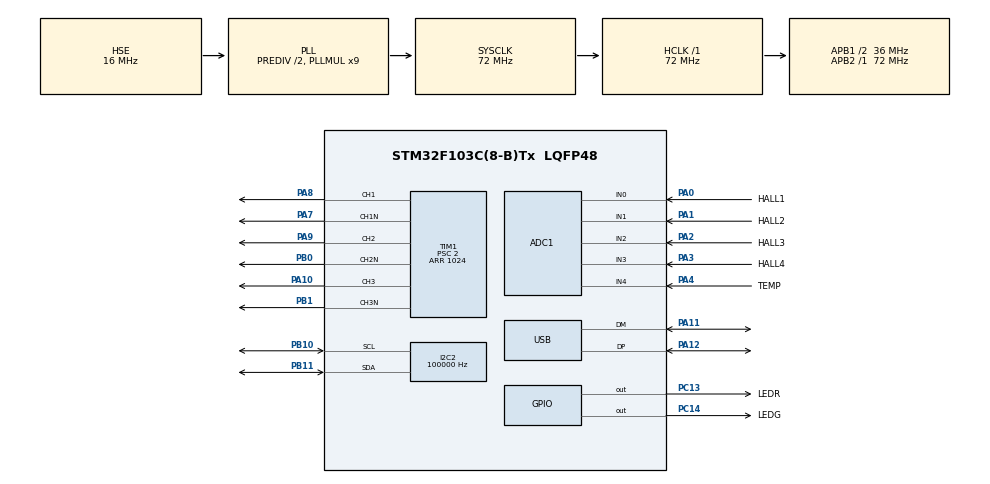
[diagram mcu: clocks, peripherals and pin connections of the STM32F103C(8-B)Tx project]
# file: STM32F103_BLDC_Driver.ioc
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ADC1.Channel-0\#ChannelRegularConversion=ADC_CHANNEL_0
ADC1.Channel-1\#ChannelRegularConversion=ADC_CHANNEL_1
ADC1.Channel-2\#ChannelRegularConversion=ADC_CHANNEL_2
ADC1.Channel-3\#ChannelRegularConversion=ADC_CHANNEL_3
ADC1.Channel-4\#ChannelRegularConversion=ADC_CHANNEL_4
ADC1.ContinuousConvMode=ENABLE
ADC1.NbrOfConversion=5
ADC1.NbrOfConversionFlag=1
ADC1.Rank-0\#ChannelRegularConversion=1
ADC1.Rank-1\#ChannelRegularConversion=2
ADC1.Rank-2\#ChannelRegularConversion=3
ADC1.Rank-3\#ChannelRegularConversion=4
ADC1.Rank-4\#ChannelRegularConversion=5
ADC1.SamplingTime-0\#ChannelRegularConversion=ADC_SAMPLETIME_41CYCLES_5
ADC1.SamplingTime-1\#ChannelRegularConversion=ADC_SAMPLETIME_41CYCLES_5
ADC1.SamplingTime-2\#ChannelRegularConversion=ADC_SAMPLETIME_41CYCLES_5
ADC1.SamplingTime-3\#ChannelRegularConversion=ADC_SAMPLETIME_41CYCLES_5
ADC1.SamplingTime-4\#ChannelRegularConversion=ADC_SAMPLETIME_41CYCLES_5
ADC1.master=1
Dma.ADC1.3.Direction=DMA_PERIPH_TO_MEMORY
Dma.ADC1.3.Instance=DMA1_Channel1
Dma.ADC1.3.MemDataAlignment=DMA_MDATAALIGN_WORD
Dma.ADC1.3.MemInc=DMA_MINC_ENABLE
Dma.ADC1.3.Mode=DMA_CIRCULAR
Dma.ADC1.3.PeriphDataAlignment=DMA_PDATAALIGN_WORD
Dma.ADC1.3.PeriphInc=DMA_PINC_DISABLE
Dma.ADC1.3.Priority=DMA_PRIORITY_LOW
Dma.Request0=TIM1_CH1
Dma.Request1=TIM1_CH2
Dma.Request2=TIM1_CH3
Dma.Request3=ADC1
Dma.TIM1_CH1.0.Direction=DMA_MEMORY_TO_PERIPH
Dma.TIM1_CH1.0.Instance=DMA1_Channel2
Dma.TIM1_CH1.0.MemDataAlignment=DMA_MDATAALIGN_HALFWORD
Dma.TIM1_CH1.0.MemInc=DMA_MINC_DISABLE
Dma.TIM1_CH1.0.Mode=DMA_CIRCULAR
Dma.TIM1_CH1.0.PeriphDataAlignment=DMA_PDATAALIGN_HALFWORD
Dma.TIM1_CH1.0.PeriphInc=DMA_PINC_DISABLE
Dma.TIM1_CH1.0.Priority=DMA_PRIORITY_LOW
Dma.TIM1_CH2.1.Direction=DMA_MEMORY_TO_PERIPH
Dma.TIM1_CH2.1.Instance=DMA1_Channel3
Dma.TIM1_CH2.1.MemDataAlignment=DMA_MDATAALIGN_HALFWORD
Dma.TIM1_CH2.1.MemInc=DMA_MINC_DISABLE
Dma.TIM1_CH2.1.Mode=DMA_CIRCULAR
Dma.TIM1_CH2.1.PeriphDataAlignment=DMA_PDATAALIGN_HALFWORD
Dma.TIM1_CH2.1.PeriphInc=DMA_PINC_DISABLE
Dma.TIM1_CH2.1.Priority=DMA_PRIORITY_LOW
Dma.TIM1_CH3.2.Direction=DMA_MEMORY_TO_PERIPH
Dma.TIM1_CH3.2.Instance=DMA1_Channel6
Dma.TIM1_CH3.2.MemDataAlignment=DMA_MDATAALIGN_HALFWORD
Dma.TIM1_CH3.2.MemInc=DMA_MINC_DISABLE
Dma.TIM1_CH3.2.Mode=DMA_CIRCULAR
Dma.TIM1_CH3.2.PeriphDataAlignment=DMA_PDATAALIGN_HALFWORD
Dma.TIM1_CH3.2.PeriphInc=DMA_PINC_DISABLE
Dma.TIM1_CH3.2.Priority=DMA_PRIORITY_LOW
I2C2.ClockSpeed=100000
I2C2.I2C_Mode=I2C_Fast
Mcu.Family=STM32F1
Mcu.Name=STM32F103C(8-B)Tx
Mcu.Package=LQFP48
NVIC.DMA1_Channel1_IRQn=true\:0\:0\:false\:false\:true\:false\:true\:true
NVIC.DMA1_Channel2_IRQn=true\:1\:0\:true\:false\:true\:false\:true\:true
NVIC.DMA1_Channel3_IRQn=true\:2\:0\:true\:false\:true\:false\:true\:true
NVIC.DMA1_Channel6_IRQn=true\:3\:0\:true\:false\:true\:false\:true\:true
NVIC.FLASH_IRQn=true\:5\:0\:true\:false\:true\:true\:true\:true
NVIC.I2C2_EV_IRQn=true\:8\:0\:true\:false\:true\:true\:true\:true
NVIC.PVD_IRQn=true\:14\:0\:true\:false\:true\:true\:true\:true
NVIC.PriorityGroup=NVIC_PRIORITYGROUP_4
NVIC.RCC_IRQn=true\:4\:0\:true\:false\:true\:true\:false\:true
NVIC.TIM2_IRQn=true\:7\:0\:true\:false\:true\:true\:true\:true
NVIC.TIM3_IRQn=true\:6\:0\:true\:false\:true\:true\:true\:true
NVIC.TIM4_IRQn=true\:0\:0\:false\:false\:true\:true\:true\:true
NVIC.USB_HP_CAN1_TX_IRQn=true\:15\:0\:true\:false\:true\:true\:true\:true
NVIC.USB_LP_CAN1_RX0_IRQn=true\:7\:0\:true\:false\:true\:false\:true\:true
PA0-WKUP.GPIO_Label=HALL1
PA0-WKUP.Signal=ADCx_IN0
PA1.GPIO_Label=HALL2
PA1.Signal=ADCx_IN1
PA10.Signal=S_TIM1_CH3
PA11.Mode=Device
PA11.Signal=USB_DM
PA12.Mode=Device
PA12.Signal=USB_DP
PA13.Mode=Serial_Wire
PA13.Signal=SYS_JTMS-SWDIO
PA14.Mode=Serial_Wire
PA14.Signal=SYS_JTCK-SWCLK
PA2.GPIO_Label=HALL3
PA2.Signal=ADCx_IN2
PA3.GPIO_Label=HALL4
PA3.Signal=ADCx_IN3
PA4.GPIO_Label=TEMP
PA4.Signal=ADCx_IN4
PA7.Mode=PWM Generation1 CH1 CH1N
PA7.Signal=TIM1_CH1N
PA8.Signal=S_TIM1_CH1
PA9.Signal=S_TIM1_CH2
PB0.Mode=PWM Generation2 CH2 CH2N
PB0.Signal=TIM1_CH2N
PB1.Mode=PWM Generation3 CH3 CH3N
PB1.Signal=TIM1_CH3N
PB10.Mode=I2C
PB10.Signal=I2C2_SCL
PB11.Mode=I2C
PB11.Signal=I2C2_SDA
PC13-TAMPER-RTC.GPIO_Label=LEDR
PC13-TAMPER-RTC.Signal=GPIO_Output
PC14-OSC32_IN.GPIO_Label=LEDG
PC14-OSC32_IN.Signal=GPIO_Output
PD0-OSC_IN.Mode=HSE-External-Oscillator
PD0-OSC_IN.Signal=RCC_OSC_IN
PD1-OSC_OUT.Mode=HSE-External-Oscillator
PD1-OSC_OUT.Signal=RCC_OSC_OUT
ProjectManager.HeapSize=0x200
ProjectManager.StackSize=0x400
ProjectManager.TargetToolchain=STM32CubeIDE
RCC.ADCPresc=RCC_ADCPCLK2_DIV6
RCC.AHBFreq_Value=72000000
RCC.APB1CLKDivider=RCC_HCLK_DIV2
RCC.APB1Freq_Value=36000000
RCC.APB1TimFreq_Value=72000000
RCC.APB2Freq_Value=72000000
RCC.APB2TimFreq_Value=72000000
RCC.HCLKFreq_Value=72000000
RCC.HSEDivPLL=RCC_HSE_PREDIV_DIV2
RCC.HSE_VALUE=16000000
RCC.PLLMUL=RCC_PLL_MUL9
RCC.SYSCLKFreq_VALUE=72000000
RCC.SYSCLKSource=RCC_SYSCLKSOURCE_PLLCLK
RCC.USBFreq_Value=48000000
RCC.USBPrescaler=RCC_USBCLKSOURCE_PLL_DIV1_5
SH.ADCx_IN0.0=ADC1_IN0,IN0
SH.ADCx_IN1.0=ADC1_IN1,IN1
SH.ADCx_IN2.0=ADC1_IN2,IN2
SH.ADCx_IN3.0=ADC1_IN3,IN3
SH.ADCx_IN4.0=ADC1_IN4,IN4
SH.S_TIM1_CH1.0=TIM1_CH1,PWM Generation1 CH1 CH1N
SH.S_TIM1_CH2.0=TIM1_CH2,PWM Generation2 CH2 CH2N
SH.S_TIM1_CH3.0=TIM1_CH3,PWM Generation3 CH3 CH3N
TIM1.AutoReloadPreload=TIM_AUTORELOAD_PRELOAD_DISABLE
TIM1.AutomaticOutput=TIM_AUTOMATICOUTPUT_ENABLE
TIM1.Channel-PWM\ Generation1\ CH1\ CH1N=TIM_CHANNEL_1
TIM1.Channel-PWM\ Generation2\ CH2\ CH2N=TIM_CHANNEL_2
TIM1.Channel-PWM\ Generation3\ CH3\ CH3N=TIM_CHANNEL_3
TIM1.DeadTime=100
TIM1.Period=1024
TIM1.Prescaler=2
TIM2.AutoReloadPreload=TIM_AUTORELOAD_PRELOAD_ENABLE
TIM2.ClockDivision=TIM_CLOCKDIVISION_DIV1
TIM2.CounterMode=TIM_COUNTERMODE_UP
TIM2.Period=70 - 1
TIM2.Prescaler=72 - 1
TIM3.Period=1000 - 1
TIM3.Prescaler=72 - 1
TIM4.Period=33333 - 1
TIM4.Prescaler=180-1
USB_DEVICE.CLASS_NAME_FS=CDC
USB_DEVICE.PRODUCT_STRING_CDC_FS=STM32 ble ComPort
USB_DEVICE.VirtualMode=Cdc
USB_DEVICE.VirtualModeFS=Cdc_FS
VP_TIM1_VS_ClockSourceINT.Mode=Internal
VP_TIM2_VS_ClockSourceINT.Mode=Internal
VP_TIM3_VS_ClockSourceINT.Mode=Internal
VP_TIM4_VS_ClockSourceINT.Mode=Internal
VP_USB_DEVICE_VS_USB_DEVICE_CDC_FS.Mode=CDC_FS
board=custom

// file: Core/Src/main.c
/* USER CODE BEGIN Header */
/**
 ******************************************************************************
 * @file           : main.c
 * @brief          : Main program body
 ******************************************************************************
 * @attention
 *
 * Copyright (c) 2022 STMicroelectronics.
 * All rights reserved.
 *
 * This software is licensed under terms that can be found in the LICENSE file
 * in the root directory of this software component.
 * If no LICENSE file comes with this software, it is provided AS-IS.
 *
 ******************************************************************************
 */
/* USER CODE END Header */
#include "main.h"
#include "usb_device.h"

/* USER CODE BEGIN Includes */
#include <math.h>
#include <stdint.h>
#include "usbd_cdc_if.h"
#include "as5600.h"
#include "bldc.h"
#include "pid.h"
#include "usb_comm.h"
/* USER CODE END Includes */

ADC_HandleTypeDef hadc1;
DMA_HandleTypeDef hdma_adc1;

I2C_HandleTypeDef hi2c2;

TIM_HandleTypeDef htim1;
TIM_HandleTypeDef htim2;
TIM_HandleTypeDef htim3;
TIM_HandleTypeDef htim4;
DMA_HandleTypeDef hdma_tim1_ch1;
DMA_HandleTypeDef hdma_tim1_ch2;
DMA_HandleTypeDef hdma_tim1_ch3;

/* USER CODE BEGIN PV */
extern uint16_t focArray[(int) MOTOR_RESOLUTION];
extern struct BLDCMotorSt bldcMotor;
extern struct BLDCencoderSt bldcEncoder;
//ADC
uint32_t adc_raw_table[5];
// USB
uint8_t DataToSend[40];
uint8_t ReceivedData[40];
uint8_t ReceivedDataFlag = 0;
uint8_t MessageLength = 0;
uint8_t TXFlag = 0;
// PID
PID_TypeDef PowerPID;
double PowerPIDSetpoint = 0.0;
//PID_TypeDef AccelerationPID;

//OTHERS
extern uint8_t initPhase;
uint16_t test_array[4095];

extern uint16_t expectedPosition;
extern uint16_t expectedDegree;
extern uint16_t expectedPower;

extern uint8_t mode; //driver program 0-1pos / 1-switch

uint16_t temperature = 0;
/* USER CODE END PV */

void SystemClock_Config(void);
static void MX_GPIO_Init(void);
static void MX_TIM1_Init(void);
static void MX_TIM2_Init(void);
static void MX_I2C2_Init(void);
static void MX_DMA_Init(void);
static void MX_ADC1_Init(void);
static void MX_TIM3_Init(void);
static void MX_TIM4_Init(void);

/* USER CODE BEGIN 0 */
void HAL_TIM_PeriodElapsedCallback(TIM_HandleTypeDef *htim) {
	if (htim->Instance == TIM2) {
		if (initPhase == 0) {
			bldc_Set_NewPosition(15, (uint16_t) bldcMotor.actualAcceleration);
		}
	}

	if (htim->Instance == TIM3) {
		bldcEncoder.status = as5600_ReadPosition(&hi2c2, &bldcEncoder.angle);
		if (initPhase == 0) {
			PID_Compute(&PowerPID);
			bldc_SyncWithEncoder(2);
			bldc_Calculate(&htim2);
		}
	}

	if (htim->Instance == TIM4) {

		HAL_GPIO_TogglePin(LEDG_GPIO_Port, LEDG_Pin);
	}
}

void encoder_Test(uint8_t power) {
	int diff;
	int maxDiff = 0;

	for (bldcMotor.fieldPosition = 0; bldcMotor.fieldPosition < 4095;
			bldcMotor.fieldPosition++) {
		bldc_Set_MotorPosition(bldcMotor.fieldPosition, power);
		HAL_Delay(10);
		diff = bldcMotor.fieldPosition - bldcEncoder.calculatedAngle;

		if (abs(diff) > 2000) {
			diff = 4095
					+ (bldcMotor.fieldPosition - bldcEncoder.calculatedAngle);
		}
		if (diff > 255) {
			diff = 255;
		}
		if (diff < -255) {
			diff = 255;
		}

		test_array[bldcEncoder.calculatedAngle] = bldcMotor.fieldPosition;

		if (abs(diff) > maxDiff && abs(diff) < 2000) {
			maxDiff = abs(diff);
		}
		//encoder_array[bldcMotor.fieldPosition] = diff;
	}
	for (uint16_t i = 0; i < 4095; i++) {
		if (i < 4090) {
			if (test_array[i] == 0 && test_array[i + 1] == 0
					&& test_array[i + 2] == 0) {
				test_array[i + 1] =
						((test_array[i + 3] - test_array[i - 1]) / 2)
								+ test_array[i - 1];
				test_array[i] = ((test_array[i + 1] - test_array[i - 1]) / 2)
						+ test_array[i - 1];
				test_array[i + 2] =
						((test_array[i + 3] - test_array[i + 1]) / 2)
								+ test_array[i + 1];
			} else if (test_array[i] == 0 && test_array[i + 1] == 0) {
				test_array[i] = ((test_array[i + 2] - test_array[i - 1]) / 3)
						+ test_array[i - 1];
				test_array[i + 1] = (((test_array[i + 2] - test_array[i - 1])
						/ 3) * 2) + test_array[i - 1];
			} else if (test_array[i] == 0) {
				test_array[i] = ((test_array[i + 1] - test_array[i - 1]) / 2)
						+ test_array[i - 1];
			}
		}
		MessageLength = sprintf((char*) DataToSend, "%i, ", test_array[i]);
		CDC_Transmit_FS(DataToSend, MessageLength);
	}
	MessageLength = sprintf((char*) DataToSend, "\n\r->  Maximum diff: %i \n\r",
			maxDiff);
	CDC_Transmit_FS(DataToSend, MessageLength);
	HAL_Delay(100);
}
/* USER CODE END 0 */

int main(void)
{

  /* MCU Configuration--------------------------------------------------------*/

  /* Reset of all peripherals, Initializes the Flash interface and the Systick. */
  HAL_Init();

  /* Configure the system clock */
  SystemClock_Config();

  /* Initialize all configured peripherals */
  MX_GPIO_Init();
  MX_DMA_Init();
  MX_TIM1_Init();
  MX_TIM2_Init();
  MX_USB_DEVICE_Init();
  MX_I2C2_Init();
  MX_ADC1_Init();
  MX_TIM3_Init();
  MX_TIM4_Init();
  /* USER CODE BEGIN 2 */

	bldcMotor.pwmU = 0;
	bldcMotor.pwmV = 0;
	bldcMotor.pwmW = 0;
	bldcMotor.expectedPosition = 0;
	bldcMotor.fieldPosition = 0;
	bldcMotor.fieldLastPosition = 0;
	bldcMotor.direction = 0;
	bldcMotor.distance = 0;
	bldcMotor.expectedPower = 30.0;
	//bldcMotor.expectedAcceleration = 900.0;
	bldcMotor.actualAcceleration = 5.0;
	bldcMotor.actualSpeedARRReg = 1000;
	bldcMotor.expectedSpeed = 15.0;
	bldcMotor.actualSpeed = 0.0;

	__HAL_TIM_SET_AUTORELOAD(&htim2, bldcMotor.actualSpeedARRReg);

	HAL_GPIO_WritePin(LEDG_GPIO_Port, LEDG_Pin, 1);
	HAL_GPIO_WritePin(LEDR_GPIO_Port, LEDR_Pin, 0);

	bldc_Create_FocArray(&focArray[0]);

	if (as5600_Init(&hi2c2)) {
		HAL_GPIO_WritePin(LEDR_GPIO_Port, LEDR_Pin, 1);
		//error
	}
	HAL_Delay(500);

	HAL_TIM_Base_Start_IT(&htim2);
	HAL_TIM_Base_Start_IT(&htim3);

	if (bldc_Init(&htim1, TIM_CHANNEL_1, TIM_CHANNEL_2, TIM_CHANNEL_3)) {
		HAL_GPIO_WritePin(LEDR_GPIO_Port, LEDR_Pin, 1);
		//error
	}
	HAL_ADC_Start_DMA(&hadc1, adc_raw_table, 5);
	HAL_TIM_Base_Start_IT(&htim4);

	//  PID for power
	PowerPIDSetpoint = 0.0;
	PID(&PowerPID, &bldcMotor.distance, &bldcMotor.actualPower,
			&PowerPIDSetpoint, 0.8, 0.01, 0.01, _PID_P_ON_E, _PID_CD_REVERSE);
	PID_SetMode(&PowerPID, _PID_MODE_AUTOMATIC);
	PID_SetSampleTime(&PowerPID, 1); //1ms refresh time
	PID_SetOutputLimits(&PowerPID, 11, bldcMotor.expectedPower);

	/*
	 *
	 *
	 *   !!!!!!!!!!!!!! INITIALISE DMA BEFORE TIMERS !!!!!!!!!!!!!!!!!!!!!!
	 *
	 *
	 * */
  /* USER CODE END 2 */

  /* Infinite loop */
  /* USER CODE BEGIN WHILE */
	while (1) {
		MessageLength = sprintf((char*) DataToSend,
						"#%i,%i,%lu,%lu,%lu,%i,%.0f,%.0f,%i/\n\r", mode, bldcEncoder.calculatedAngle,
						bldcMotor.pwmU, bldcMotor.pwmV, bldcMotor.pwmW,
						bldcMotor.expectedPosition, bldcMotor.expectedPower, bldcMotor.actualPower,
						temperature);
		CDC_Transmit_FS(DataToSend, MessageLength);

		if(bldcMotor.expectedPower != (float)expectedPower){
			if((float)expectedPower > 12){
				bldcMotor.expectedPower = (float)expectedPower;
			} else {
				bldcMotor.expectedPower = 12;
			}
			PID_SetOutputLimits(&PowerPID, 12, bldcMotor.expectedPower);
		}

		if(mode == 0){
			float newPos = expectedDegree * 1.1406;
			bldcMotor.expectedPosition = (uint16_t)newPos;
		} else if (mode == 1){
			uint16_t switchPos = expectedDegree * 1.1406;
			bldcHapticSwitch(0, switchPos);
		}

		temperature = (0.04 * (uint16_t)adc_raw_table[4]) - 56;;

		HAL_Delay(50);
    /* USER CODE END WHILE */

	}
}

void SystemClock_Config(void)
{
  RCC_OscInitTypeDef RCC_OscInitStruct = {0};
  RCC_ClkInitTypeDef RCC_ClkInitStruct = {0};
  RCC_PeriphCLKInitTypeDef PeriphClkInit = {0};

  /** Initializes the RCC Oscillators according to the specified parameters
  * in the RCC_OscInitTypeDef structure.
  */
  RCC_OscInitStruct.OscillatorType = RCC_OSCILLATORTYPE_HSE;
  RCC_OscInitStruct.HSEState = RCC_HSE_ON;
  RCC_OscInitStruct.HSEPredivValue = RCC_HSE_PREDIV_DIV2;
  RCC_OscInitStruct.HSIState = RCC_HSI_ON;
  RCC_OscInitStruct.PLL.PLLState = RCC_PLL_ON;
  RCC_OscInitStruct.PLL.PLLSource = RCC_PLLSOURCE_HSE;
  RCC_OscInitStruct.PLL.PLLMUL = RCC_PLL_MUL9;
  if (HAL_RCC_OscConfig(&RCC_OscInitStruct) != HAL_OK)
  {
    Error_Handler();
  }

  /** Initializes the CPU, AHB and APB buses clocks
  */
  RCC_ClkInitStruct.ClockType = RCC_CLOCKTYPE_HCLK|RCC_CLOCKTYPE_SYSCLK
                              |RCC_CLOCKTYPE_PCLK1|RCC_CLOCKTYPE_PCLK2;
  RCC_ClkInitStruct.SYSCLKSource = RCC_SYSCLKSOURCE_PLLCLK;
  RCC_ClkInitStruct.AHBCLKDivider = RCC_SYSCLK_DIV1;
  RCC_ClkInitStruct.APB1CLKDivider = RCC_HCLK_DIV2;
  RCC_ClkInitStruct.APB2CLKDivider = RCC_HCLK_DIV1;

  if (HAL_RCC_ClockConfig(&RCC_ClkInitStruct, FLASH_LATENCY_2) != HAL_OK)
  {
    Error_Handler();
  }
  PeriphClkInit.PeriphClockSelection = RCC_PERIPHCLK_ADC|RCC_PERIPHCLK_USB;
  PeriphClkInit.AdcClockSelection = RCC_ADCPCLK2_DIV6;
  PeriphClkInit.UsbClockSelection = RCC_USBCLKSOURCE_PLL_DIV1_5;
  if (HAL_RCCEx_PeriphCLKConfig(&PeriphClkInit) != HAL_OK)
  {
    Error_Handler();
  }
}

static void MX_ADC1_Init(void)
{

  ADC_ChannelConfTypeDef sConfig = {0};

  /** Common config
  */
  hadc1.Instance = ADC1;
  hadc1.Init.ScanConvMode = ADC_SCAN_ENABLE;
  hadc1.Init.ContinuousConvMode = ENABLE;
  hadc1.Init.DiscontinuousConvMode = DISABLE;
  hadc1.Init.ExternalTrigConv = ADC_SOFTWARE_START;
  hadc1.Init.DataAlign = ADC_DATAALIGN_RIGHT;
  hadc1.Init.NbrOfConversion = 5;
  if (HAL_ADC_Init(&hadc1) != HAL_OK)
  {
    Error_Handler();
  }

  /** Configure Regular Channel
  */
  sConfig.Channel = ADC_CHANNEL_0;
  sConfig.Rank = ADC_REGULAR_RANK_1;
  sConfig.SamplingTime = ADC_SAMPLETIME_41CYCLES_5;
  if (HAL_ADC_ConfigChannel(&hadc1, &sConfig) != HAL_OK)
  {
    Error_Handler();
  }

  /** Configure Regular Channel
  */
  sConfig.Channel = ADC_CHANNEL_1;
  sConfig.Rank = ADC_REGULAR_RANK_2;
  if (HAL_ADC_ConfigChannel(&hadc1, &sConfig) != HAL_OK)
  {
    Error_Handler();
  }

  /** Configure Regular Channel
  */
  sConfig.Channel = ADC_CHANNEL_2;
  sConfig.Rank = ADC_REGULAR_RANK_3;
  if (HAL_ADC_ConfigChannel(&hadc1, &sConfig) != HAL_OK)
  {
    Error_Handler();
  }

  /** Configure Regular Channel
  */
  sConfig.Channel = ADC_CHANNEL_3;
  sConfig.Rank = ADC_REGULAR_RANK_4;
  if (HAL_ADC_ConfigChannel(&hadc1, &sConfig) != HAL_OK)
  {
    Error_Handler();
  }

  /** Configure Regular Channel
  */
  sConfig.Channel = ADC_CHANNEL_4;
  sConfig.Rank = ADC_REGULAR_RANK_5;
  if (HAL_ADC_ConfigChannel(&hadc1, &sConfig) != HAL_OK)
  {
    Error_Handler();
  }

}

static void MX_I2C2_Init(void)
{

  hi2c2.Instance = I2C2;
  hi2c2.Init.ClockSpeed = 100000;
  hi2c2.Init.DutyCycle = I2C_DUTYCYCLE_2;
  hi2c2.Init.OwnAddress1 = 0;
  hi2c2.Init.AddressingMode = I2C_ADDRESSINGMODE_7BIT;
  hi2c2.Init.DualAddressMode = I2C_DUALADDRESS_DISABLE;
  hi2c2.Init.OwnAddress2 = 0;
  hi2c2.Init.GeneralCallMode = I2C_GENERALCALL_DISABLE;
  hi2c2.Init.NoStretchMode = I2C_NOSTRETCH_DISABLE;
  if (HAL_I2C_Init(&hi2c2) != HAL_OK)
  {
    Error_Handler();
  }

}

static void MX_TIM1_Init(void)
{

  TIM_ClockConfigTypeDef sClockSourceConfig = {0};
  TIM_MasterConfigTypeDef sMasterConfig = {0};
  TIM_OC_InitTypeDef sConfigOC = {0};
  TIM_BreakDeadTimeConfigTypeDef sBreakDeadTimeConfig = {0};

  htim1.Instance = TIM1;
  htim1.Init.Prescaler = 2;
  htim1.Init.CounterMode = TIM_COUNTERMODE_UP;
  htim1.Init.Period = 1024;
  htim1.Init.ClockDivision = TIM_CLOCKDIVISION_DIV1;
  htim1.Init.RepetitionCounter = 0;
  htim1.Init.AutoReloadPreload = TIM_AUTORELOAD_PRELOAD_DISABLE;
  if (HAL_TIM_Base_Init(&htim1) != HAL_OK)
  {
    Error_Handler();
  }
  sClockSourceConfig.ClockSource = TIM_CLOCKSOURCE_INTERNAL;
  if (HAL_TIM_ConfigClockSource(&htim1, &sClockSourceConfig) != HAL_OK)
  {
    Error_Handler();
  }
  if (HAL_TIM_PWM_Init(&htim1) != HAL_OK)
  {
    Error_Handler();
  }
  sMasterConfig.MasterOutputTrigger = TIM_TRGO_RESET;
  sMasterConfig.MasterSlaveMode = TIM_MASTERSLAVEMODE_DISABLE;
  if (HAL_TIMEx_MasterConfigSynchronization(&htim1, &sMasterConfig) != HAL_OK)
  {
    Error_Handler();
  }
  sConfigOC.OCMode = TIM_OCMODE_PWM1;
  sConfigOC.Pulse = 0;
  sConfigOC.OCPolarity = TIM_OCPOLARITY_HIGH;
  sConfigOC.OCNPolarity = TIM_OCNPOLARITY_HIGH;
  sConfigOC.OCFastMode = TIM_OCFAST_DISABLE;
  sConfigOC.OCIdleState = TIM_OCIDLESTATE_RESET;
  sConfigOC.OCNIdleState = TIM_OCNIDLESTATE_RESET;
  if (HAL_TIM_PWM_ConfigChannel(&htim1, &sConfigOC, TIM_CHANNEL_1) != HAL_OK)
  {
    Error_Handler();
  }
  if (HAL_TIM_PWM_ConfigChannel(&htim1, &sConfigOC, TIM_CHANNEL_2) != HAL_OK)
  {
    Error_Handler();
  }
  if (HAL_TIM_PWM_ConfigChannel(&htim1, &sConfigOC, TIM_CHANNEL_3) != HAL_OK)
  {
    Error_Handler();
  }
  sBreakDeadTimeConfig.OffStateRunMode = TIM_OSSR_DISABLE;
  sBreakDeadTimeConfig.OffStateIDLEMode = TIM_OSSI_DISABLE;
  sBreakDeadTimeConfig.LockLevel = TIM_LOCKLEVEL_OFF;
  sBreakDeadTimeConfig.DeadTime = 100;
  sBreakDeadTimeConfig.BreakState = TIM_BREAK_DISABLE;
  sBreakDeadTimeConfig.BreakPolarity = TIM_BREAKPOLARITY_HIGH;
  sBreakDeadTimeConfig.AutomaticOutput = TIM_AUTOMATICOUTPUT_ENABLE;
  if (HAL_TIMEx_ConfigBreakDeadTime(&htim1, &sBreakDeadTimeConfig) != HAL_OK)
  {
    Error_Handler();
  }
  HAL_TIM_MspPostInit(&htim1);

}

static void MX_TIM2_Init(void)
{

  TIM_ClockConfigTypeDef sClockSourceConfig = {0};
  TIM_MasterConfigTypeDef sMasterConfig = {0};

  htim2.Instance = TIM2;
  htim2.Init.Prescaler = 72 - 1;
  htim2.Init.CounterMode = TIM_COUNTERMODE_UP;
  htim2.Init.Period = 70 - 1;
  htim2.Init.ClockDivision = TIM_CLOCKDIVISION_DIV1;
  htim2.Init.AutoReloadPreload = TIM_AUTORELOAD_PRELOAD_ENABLE;
  if (HAL_TIM_Base_Init(&htim2) != HAL_OK)
  {
    Error_Handler();
  }
  sClockSourceConfig.ClockSource = TIM_CLOCKSOURCE_INTERNAL;
  if (HAL_TIM_ConfigClockSource(&htim2, &sClockSourceConfig) != HAL_OK)
  {
    Error_Handler();
  }
  sMasterConfig.MasterOutputTrigger = TIM_TRGO_RESET;
  sMasterConfig.MasterSlaveMode = TIM_MASTERSLAVEMODE_DISABLE;
  if (HAL_TIMEx_MasterConfigSynchronization(&htim2, &sMasterConfig) != HAL_OK)
  {
    Error_Handler();
  }

}

static void MX_TIM3_Init(void)
{

  TIM_ClockConfigTypeDef sClockSourceConfig = {0};
  TIM_MasterConfigTypeDef sMasterConfig = {0};

  htim3.Instance = TIM3;
  htim3.Init.Prescaler = 72 - 1;
  htim3.Init.CounterMode = TIM_COUNTERMODE_UP;
  htim3.Init.Period = 1000 - 1;
  htim3.Init.ClockDivision = TIM_CLOCKDIVISION_DIV1;
  htim3.Init.AutoReloadPreload = TIM_AUTORELOAD_PRELOAD_DISABLE;
  if (HAL_TIM_Base_Init(&htim3) != HAL_OK)
  {
    Error_Handler();
  }
  sClockSourceConfig.ClockSource = TIM_CLOCKSOURCE_INTERNAL;
  if (HAL_TIM_ConfigClockSource(&htim3, &sClockSourceConfig) != HAL_OK)
  {
    Error_Handler();
  }
  sMasterConfig.MasterOutputTrigger = TIM_TRGO_RESET;
  sMasterConfig.MasterSlaveMode = TIM_MASTERSLAVEMODE_DISABLE;
  if (HAL_TIMEx_MasterConfigSynchronization(&htim3, &sMasterConfig) != HAL_OK)
  {
    Error_Handler();
  }

}

static void MX_TIM4_Init(void)
{

  TIM_ClockConfigTypeDef sClockSourceConfig = {0};
  TIM_MasterConfigTypeDef sMasterConfig = {0};

  htim4.Instance = TIM4;
  htim4.Init.Prescaler = 180-1;
  htim4.Init.CounterMode = TIM_COUNTERMODE_UP;
  htim4.Init.Period = 33333 - 1;
  htim4.Init.ClockDivision = TIM_CLOCKDIVISION_DIV1;
  htim4.Init.AutoReloadPreload = TIM_AUTORELOAD_PRELOAD_DISABLE;
  if (HAL_TIM_Base_Init(&htim4) != HAL_OK)
  {
    Error_Handler();
  }
  sClockSourceConfig.ClockSource = TIM_CLOCKSOURCE_INTERNAL;
  if (HAL_TIM_ConfigClockSource(&htim4, &sClockSourceConfig) != HAL_OK)
  {
    Error_Handler();
  }
  sMasterConfig.MasterOutputTrigger = TIM_TRGO_RESET;
  sMasterConfig.MasterSlaveMode = TIM_MASTERSLAVEMODE_DISABLE;
  if (HAL_TIMEx_MasterConfigSynchronization(&htim4, &sMasterConfig) != HAL_OK)
  {
    Error_Handler();
  }

}

static void MX_DMA_Init(void)
{

  /* DMA controller clock enable */
  __HAL_RCC_DMA1_CLK_ENABLE();

  /* DMA interrupt init */
  /* DMA1_Channel1_IRQn interrupt configuration */
  HAL_NVIC_SetPriority(DMA1_Channel1_IRQn, 0, 0);
  HAL_NVIC_EnableIRQ(DMA1_Channel1_IRQn);
  /* DMA1_Channel2_IRQn interrupt configuration */
  HAL_NVIC_SetPriority(DMA1_Channel2_IRQn, 1, 0);
  HAL_NVIC_EnableIRQ(DMA1_Channel2_IRQn);
  /* DMA1_Channel3_IRQn interrupt configuration */
  HAL_NVIC_SetPriority(DMA1_Channel3_IRQn, 2, 0);
  HAL_NVIC_EnableIRQ(DMA1_Channel3_IRQn);
  /* DMA1_Channel6_IRQn interrupt configuration */
  HAL_NVIC_SetPriority(DMA1_Channel6_IRQn, 3, 0);
  HAL_NVIC_EnableIRQ(DMA1_Channel6_IRQn);

}

static void MX_GPIO_Init(void)
{
  GPIO_InitTypeDef GPIO_InitStruct = {0};

  /* GPIO Ports Clock Enable */
  __HAL_RCC_GPIOC_CLK_ENABLE();
  __HAL_RCC_GPIOD_CLK_ENABLE();
  __HAL_RCC_GPIOA_CLK_ENABLE();
  __HAL_RCC_GPIOB_CLK_ENABLE();

  /*Configure GPIO pin Output Level */
  HAL_GPIO_WritePin(GPIOC, LEDR_Pin|LEDG_Pin, GPIO_PIN_RESET);

  /*Configure GPIO pins : LEDR_Pin LEDG_Pin */
  GPIO_InitStruct.Pin = LEDR_Pin|LEDG_Pin;
  GPIO_InitStruct.Mode = GPIO_MODE_OUTPUT_PP;
  GPIO_InitStruct.Pull = GPIO_NOPULL;
  GPIO_InitStruct.Speed = GPIO_SPEED_FREQ_LOW;
  HAL_GPIO_Init(GPIOC, &GPIO_InitStruct);

}

void Error_Handler(void)
{
	__disable_irq();
	while (1) {
	}
}
